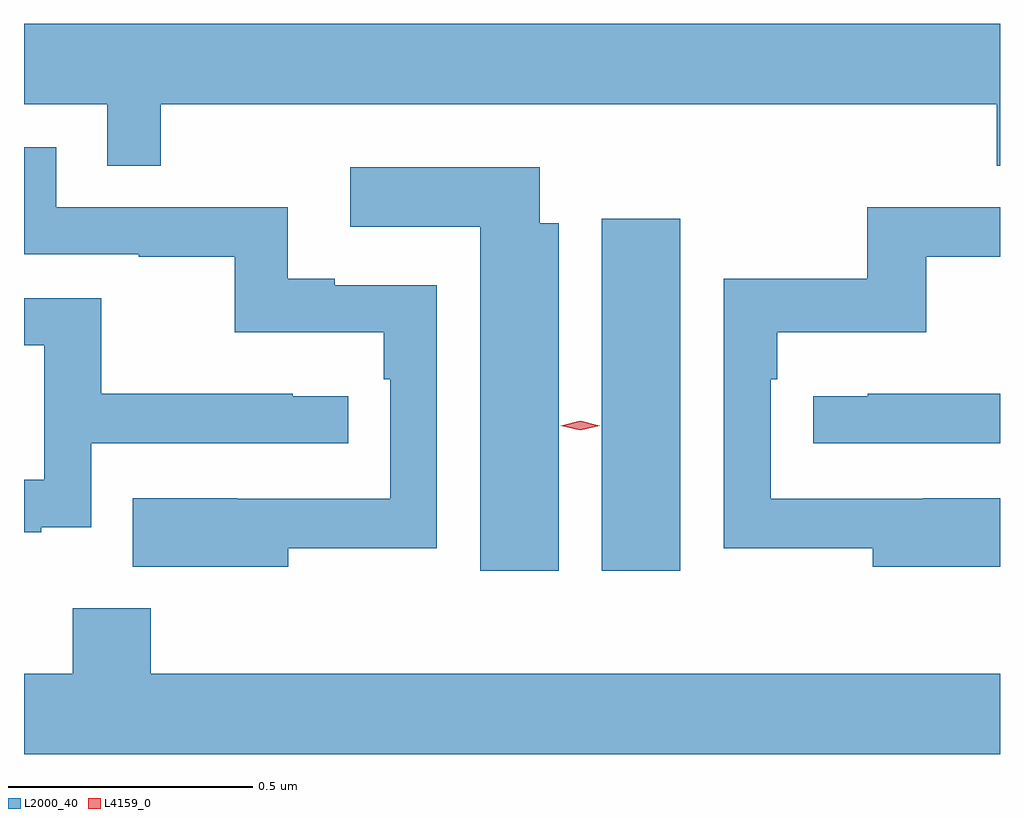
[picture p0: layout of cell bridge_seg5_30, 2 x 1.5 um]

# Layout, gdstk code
import gdstk
lib = gdstk.Library(unit=1e-6, precision=1e-09)
def R(c, l, rs):  # rectangles x0, y0, x1, y1
    for r in rs: c.add(gdstk.rectangle(r[:2], r[2:], *l))
def P(c, l, *ps):  # polygons
    for p in ps: c.add(gdstk.Polygon(p, *l))
L2000_40 = (2000, 40)
L4159_0 = (4159, 0)

bridge_seg5_30 = lib.new_cell('bridge_seg5_30')
R(bridge_seg5_30, L2000_40, [(1120.622,835.824,1120.783,836.545)])
P(bridge_seg5_30, L2000_40, [(1119.718,836.78),(1121.431,836.78),(1121.431,836.653),(1121.438,836.653),(1121.438,836.944),(1119.438,836.944),(1119.438,836.78),(1119.609,836.78),(1119.609,836.653),(1119.718,836.653)],
  [(1119.979,835.87),(1120.284,835.87),(1120.284,836.409),(1120.075,836.409),(1120.075,836.422),(1119.978,836.422),(1119.978,836.568),(1119.504,836.568),(1119.504,836.691),(1119.438,836.691),(1119.438,836.472),(1119.673,836.472),(1119.673,836.467),(1119.87,836.467),(1119.87,836.312),(1120.175,836.312),(1120.175,836.216),(1120.188,836.216),(1120.188,835.971),(1119.875,835.971),(1119.875,835.972),(1119.661,835.972),(1119.661,835.832),(1119.979,835.832)],
  [(1120.534,836.536),(1120.495,836.536),(1120.495,836.65),(1120.107,836.65),(1120.107,836.528),(1120.373,836.528),(1120.373,835.824),(1120.534,835.824)],
  [(1121.438,835.972),(1121.281,835.972),(1121.281,835.971),(1120.968,835.971),(1120.968,836.216),(1120.982,836.216),(1120.982,836.312),(1121.287,836.312),(1121.287,836.467),(1121.438,836.467),(1121.438,836.568),(1121.166,836.568),(1121.166,836.422),(1120.872,836.422),(1120.872,835.87),(1121.177,835.87),(1121.177,835.832),(1121.438,835.832)],
  [(1119.473,835.913),(1119.576,835.913),(1119.576,836.085),(1120.102,836.085),(1120.102,836.181),(1119.989,836.181),(1119.989,836.186),(1119.596,836.186),(1119.596,836.382),(1119.438,836.382),(1119.438,836.286),(1119.48,836.286),(1119.48,836.01),(1119.438,836.01),(1119.438,835.902),(1119.473,835.902)],
  [(1121.438,836.186),(1121.167,836.186),(1121.167,836.181),(1121.055,836.181),(1121.055,836.085),(1121.438,836.085)],
  [(1121.438,835.612),(1119.698,835.612),(1119.698,835.747),(1119.538,835.747),(1119.538,835.612),(1119.438,835.612),(1119.438,835.448),(1121.438,835.448)])
P(bridge_seg5_30, L4159_0, [(1120.578,836.111),(1120.538,836.121),(1120.538,836.121),(1120.538,836.121),(1120.578,836.131),(1120.618,836.121),(1120.618,836.121),(1120.618,836.121)])

lib.write_gds('bridge_seg5_30.gds')
